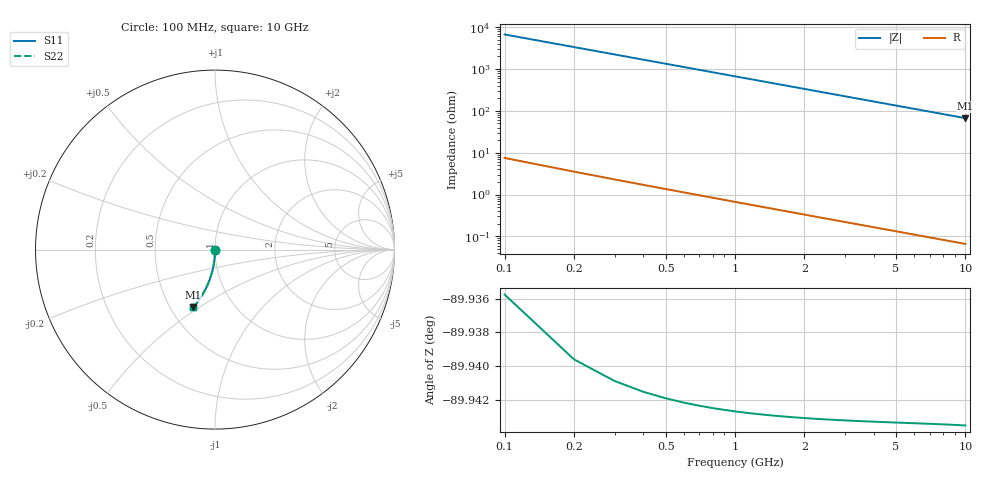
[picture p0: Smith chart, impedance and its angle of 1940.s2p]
# Hz S RI R 50.00
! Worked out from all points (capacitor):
!   100 points, 100 MHz to 10 GHz, reference 50 ohm
!   read as one part in shunt: C = 237 fF near 100 MHz
!   lowest |Z| = 67.2 ohm at 10 GHz (marker M1)
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1e8  -3.28e-06 -0.00368  1 -0.00378  1 -0.00378  -3.28e-06 -0.00368
2e8  -4.86e-05 -0.00736  0.9999 -0.00756  0.9999 -0.00756  -4.86e-05 -0.00736
3e8  -0.000122 -0.011  0.9998 -0.0113  0.9998 -0.0113  -0.000122 -0.011
4e8  -0.000223 -0.0147  0.9997 -0.0151  0.9997 -0.0151  -0.000223 -0.0147
5e8  -0.000351 -0.0184  0.9996 -0.0189  0.9996 -0.0189  -0.000351 -0.0184
6e8  -0.000508 -0.0221  0.9995 -0.0227  0.9995 -0.0227  -0.000508 -0.0221
7e8  -0.000692 -0.0258  0.9993 -0.0264  0.9993 -0.0264  -0.000692 -0.0258
8e8  -0.000904 -0.0294  0.9991 -0.0302  0.9991 -0.0302  -0.000904 -0.0294
9e8  -0.00114 -0.0331  0.9988 -0.034  0.9988 -0.034  -0.00114 -0.0331
1.1e9  -0.00171 -0.0404  0.9983 -0.0415  0.9983 -0.0415  -0.00171 -0.0404
1.4e9  -0.00276 -0.0514  0.9972 -0.0527  0.9972 -0.0527  -0.00276 -0.0514
1.8e9  -0.00454 -0.066  0.9954 -0.0677  0.9954 -0.0677  -0.00454 -0.066
2.1e9  -0.00616 -0.0768  0.9938 -0.0788  0.9938 -0.0788  -0.00616 -0.0768
2.5e9  -0.00869 -0.0912  0.9913 -0.0936  0.9913 -0.0936  -0.00869 -0.0912
2.9e9  -0.0117 -0.1055  0.9883 -0.1083  0.9883 -0.1083  -0.0117 -0.1055
3.4e9  -0.0159 -0.1231  0.984 -0.1264  0.984 -0.1264  -0.0159 -0.1231
4.2e9  -0.0241 -0.1508  0.9759 -0.1549  0.9759 -0.1549  -0.0241 -0.1508
5.1e9  -0.0351 -0.181  0.9649 -0.186  0.9649 -0.186  -0.0351 -0.181
5.9e9  -0.0463 -0.2069  0.9536 -0.2126  0.9536 -0.2126  -0.0463 -0.2069
6.7e9  -0.0589 -0.2318  0.941 -0.2383  0.941 -0.2383  -0.0589 -0.2318
8.4e9  -0.0895 -0.281  0.9104 -0.2891  0.9104 -0.2891  -0.0895 -0.281
1e10  -0.1222 -0.3222  0.8777 -0.332  0.8777 -0.332  -0.1222 -0.3222
